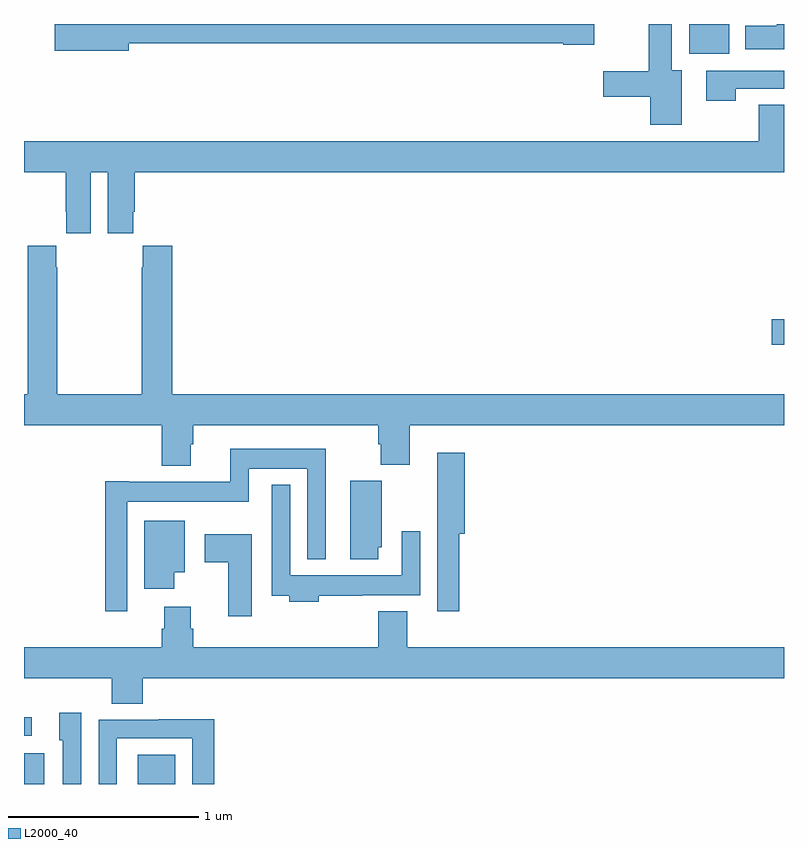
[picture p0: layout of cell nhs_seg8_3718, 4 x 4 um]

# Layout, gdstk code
import gdstk
lib = gdstk.Library(unit=1e-6, precision=1e-09)
def R(c, l, rs):  # rectangles x0, y0, x1, y1
    for r in rs: c.add(gdstk.rectangle(r[:2], r[2:], *l))
def P(c, l, *ps):  # polygons
    for p in ps: c.add(gdstk.Polygon(p, *l))
L2000_40 = (2000, 40)

nhs_seg8_3718 = lib.new_cell('nhs_seg8_3718')
R(nhs_seg8_3718, L2000_40, [(339,1159.9,339.106,1160.062), (339.599,1159.9,339.796,1160.053), (339,1160.154,339.04,1160.252), (342.936,1162.211,343,1162.346), (342.5,1163.744,342.712,1163.9)])
P(nhs_seg8_3718, L2000_40, [(343,1163.9),(342.962,1163.9),(342.962,1163.89),(342.797,1163.89),(342.797,1163.768),(343,1163.768)],
  [(339.55,1163.8),(341.838,1163.8),(341.838,1163.792),(342,1163.792),(342,1163.9),(339.162,1163.9),(339.162,1163.758),(339.55,1163.758)],
  [(342.463,1163.656),(342.409,1163.656),(342.409,1163.9),(342.289,1163.9),(342.289,1163.651),(342.048,1163.651),(342.048,1163.516),(342.296,1163.516),(342.296,1163.37),(342.463,1163.37)],
  [(342.747,1163.559),(343,1163.559),(343,1163.655),(342.591,1163.655),(342.591,1163.496),(342.747,1163.496)],
  [(339.352,1163.12),(339.44,1163.12),(339.44,1162.8),(339.574,1162.8),(339.574,1162.912),(339.584,1162.912),(339.584,1163.12),(343,1163.12),(343,1163.474),(342.868,1163.474),(342.868,1163.284),(339,1163.284),(339,1163.12),(339.221,1163.12),(339.221,1162.912),(339.222,1162.912),(339.222,1162.8),(339.352,1162.8)],
  [(339.877,1161.687),(339.89,1161.687),(339.89,1161.788),(340.865,1161.788),(340.865,1161.689),(340.877,1161.689),(340.877,1161.58),(341.03,1161.58),(341.03,1161.788),(343,1161.788),(343,1161.952),(339.779,1161.952),(339.779,1162.732),(339.625,1162.732),(339.625,1162.619),(339.619,1162.619),(339.619,1161.952),(339.174,1161.952),(339.174,1162.619),(339.171,1162.619),(339.171,1162.732),(339.021,1162.732),(339.021,1162.619),(339.019,1162.619),(339.019,1161.952),(339,1161.952),(339,1161.788),(339.725,1161.788),(339.725,1161.575),(339.877,1161.575)],
  [(339.543,1161.386),(340.182,1161.386),(340.182,1161.56),(340.491,1161.56),(340.491,1161.083),(340.588,1161.083),(340.588,1161.664),(340.085,1161.664),(340.085,1161.49),(339.55,1161.49),(339.55,1161.493),(339.427,1161.493),(339.427,1160.808),(339.543,1160.808)],
  [(341.291,1161.218),(341.321,1161.218),(341.321,1161.643),(341.174,1161.643),(341.174,1161.322),(341.175,1161.322),(341.175,1160.808),(341.291,1160.808)],
  [(340.864,1161.147),(340.882,1161.147),(340.882,1161.495),(340.718,1161.495),(340.718,1161.084),(340.864,1161.084)],
  [(340.55,1160.892),(340.781,1160.892),(340.781,1160.894),(341.085,1160.894),(341.085,1161.229),(340.989,1161.229),(340.989,1160.998),(340.401,1160.998),(340.401,1161.475),(340.305,1161.475),(340.305,1160.892),(340.397,1160.892),(340.397,1160.858),(340.55,1160.858)],
  [(339.79,1161.014),(339.847,1161.014),(339.847,1161.286),(339.632,1161.286),(339.632,1160.928),(339.79,1160.928)],
  [(340.198,1161.214),(339.951,1161.214),(339.951,1161.067),(340.076,1161.067),(340.076,1160.784),(340.198,1160.784)],
  [(339.626,1160.456),(343,1160.456),(343,1160.62),(341.017,1160.62),(341.017,1160.809),(340.865,1160.809),(340.865,1160.62),(339.89,1160.62),(339.89,1160.718),(339.877,1160.718),(339.877,1160.833),(339.737,1160.833),(339.737,1160.718),(339.725,1160.718),(339.725,1160.62),(339,1160.62),(339,1160.456),(339.461,1160.456),(339.461,1160.323),(339.626,1160.323)],
  [(339.3,1160.275),(339.185,1160.275),(339.185,1160.13),(339.204,1160.13),(339.204,1159.9),(339.3,1159.9)],
  [(339.489,1160.142),(339.885,1160.142),(339.885,1159.9),(340.001,1159.9),(340.001,1160.24),(339.709,1160.24),(339.709,1160.238),(339.393,1160.238),(339.393,1159.9),(339.489,1159.9)])

lib.write_gds('nhs_seg8_3718.gds')
